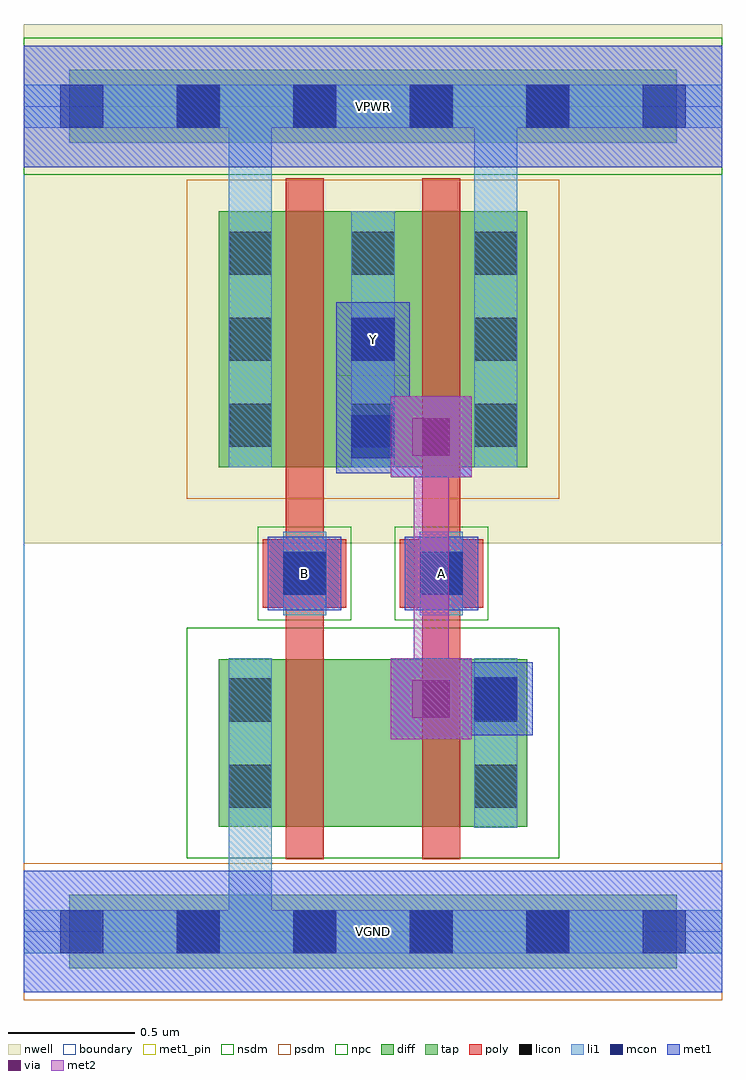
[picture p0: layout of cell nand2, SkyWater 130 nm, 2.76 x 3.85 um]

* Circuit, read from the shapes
.subckt nand2 A B VGND VPWR Y
XM1 n1 B VGND VGND sky130_fd_pr__nfet_01v8 w=0.66 l=0.15
XM2 Y A n1 VGND sky130_fd_pr__nfet_01v8 w=0.66 l=0.15
XM3 Y B VPWR VPWR sky130_fd_pr__pfet_01v8 w=1.01 l=0.15
XM4 VPWR A Y VPWR sky130_fd_pr__pfet_01v8 w=1.01 l=0.15
.ends

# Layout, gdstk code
import gdstk
lib = gdstk.Library(unit=1e-6, precision=1e-09)
def R(c, l, rs):  # rectangles x0, y0, x1, y1
    for r in rs: c.add(gdstk.rectangle(r[:2], r[2:], *l))
def A(c, l, x, y, w, h, nx, ny, dx, dy):  # array of equal rectangles
    R(c, l, [(x+i*dx, y+j*dy, x+i*dx+w, y+j*dy+h) for i in range(nx) for j in range(ny)])
nwell = (64, 20)
diff = (65, 20)
tap = (65, 44)
poly = (66, 20)
licon = (66, 44)
li1 = (67, 20)
mcon = (67, 44)
met1_pin = (68, 16)
met1 = (68, 20)
via = (68, 44)
met2 = (69, 20)
nsdm = (93, 44)
psdm = (94, 20)
npc = (95, 20)
boundary = (235, 4)

nand2 = lib.new_cell('nand2')
R(nand2, nwell, [(0,1.535,2.76,3.585)])
R(nand2, diff, [(0.77,0.415,1.99,1.075), (0.77,1.835,1.99,2.845)])
R(nand2, tap, [(0.18,-0.145,2.58,0.145), (0.18,3.115,2.58,3.405)])
R(nand2, poly, [(1.035,0.285,1.185,2.975), (1.575,0.285,1.725,2.975), (0.945,1.28,1.275,1.55), (1.485,1.28,1.815,1.55)])
A(nand2, licon, 0.605, -0.085, 0.17, 0.17, 4, 2, 0.46, 3.26)
A(nand2, licon, 0.81, 1.915, 0.17, 0.17, 3, 3, 0.485, 0.34)
R(nand2, licon, [(0.81,0.49,0.98,0.66), (1.78,0.49,1.95,0.66), (0.81,0.83,0.98,1), (1.78,0.83,1.95,1), (1.025,1.33,1.195,1.5), (1.565,1.33,1.735,1.5)])
A(nand2, li1, 0.81, 1.835, 0.17, 1.01, 3, 1, 0.485, 0)
R(nand2, li1, [(0,-0.085,2.76,0.085), (0.81,-0.085,0.98,1.08), (0.81,0.41,0.98,1.08), (1.78,0.41,1.95,1.08), (1.025,1.25,1.195,1.58), (1.565,1.25,1.735,1.58), (0.81,1.835,0.98,3.345), (1.78,1.835,1.95,3.345), (0,3.175,2.76,3.345)])
A(nand2, mcon, 0.145, -0.085, 0.17, 0.17, 6, 2, 0.46, 3.26)
R(nand2, mcon, [(1.78,0.835,1.95,1.005), (1.025,1.33,1.195,1.5), (1.565,1.33,1.735,1.5), (1.295,1.87,1.465,2.04), (1.295,2.255,1.465,2.425)])
R(nand2, met1_pin, [(0,-0.24,2.76,0.24), (0.965,1.27,1.255,1.56), (1.505,1.27,1.795,1.56), (1.235,2.195,1.525,2.485), (0,3.02,2.76,3.5)])
R(nand2, met1, [(0,-0.24,2.76,0.24), (1.45,0.76,1.77,1.08), (1.72,0.775,2.01,1.065), (1.54,0.85,1.795,0.99), (1.655,0.85,1.935,0.99), (0.965,1.27,1.255,1.56), (1.505,1.27,1.795,1.56), (1.45,1.795,1.77,2.115), (1.235,1.81,1.525,2.1), (1.31,1.885,1.68,2.025), (1.235,2.1,1.525,2.195), (1.45,2.115,1.525,2.195), (1.235,2.195,1.525,2.485), (0,3.02,2.76,3.5)])
R(nand2, via, [(1.535,0.845,1.685,0.995), (1.535,1.88,1.685,2.03)])
R(nand2, met2, [(1.45,0.76,1.77,1.08), (1.54,0.85,1.68,2.025), (1.45,1.795,1.77,2.115)])
R(nand2, nsdm, [(0.645,0.29,2.115,1.2), (0,2.99,2.76,3.53)])
R(nand2, psdm, [(0,-0.27,2.76,0.27), (0.645,1.71,2.115,2.97)])
R(nand2, npc, [(0.925,1.23,1.295,1.6), (1.465,1.23,1.835,1.6)])
R(nand2, boundary, [(0,0,2.76,3.26)])
nand2.add(gdstk.Label('A', (1.65,1.415), layer=68, texttype=5))
nand2.add(gdstk.Label('B', (1.11,1.415), layer=68, texttype=5))
nand2.add(gdstk.Label('Y', (1.38,2.34), layer=68, texttype=5))
nand2.add(gdstk.Label('VPWR', (1.38,3.26), layer=68, texttype=5))
nand2.add(gdstk.Label('VGND', (1.38,0), layer=68, texttype=5))
nand2.add(gdstk.Label('A', (1.65,1.415), layer=68, texttype=16))
nand2.add(gdstk.Label('B', (1.11,1.415), layer=68, texttype=16))
nand2.add(gdstk.Label('Y', (1.38,2.34), layer=68, texttype=16))
nand2.add(gdstk.Label('VPWR', (1.38,3.26), layer=68, texttype=16))
nand2.add(gdstk.Label('VGND', (1.38,0), layer=68, texttype=16))

lib.write_gds('nand2.gds')
